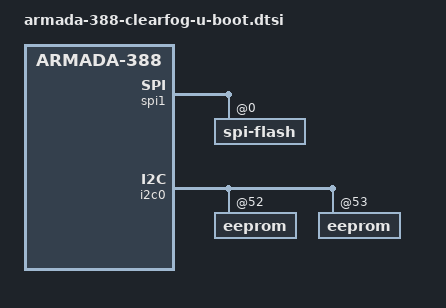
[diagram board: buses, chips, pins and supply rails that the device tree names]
// SPDX-License-Identifier: GPL-2.0+

&spi1 {
	bootph-pre-ram;

	spi-flash@0 {
		bootph-pre-ram;
	};
};

&sdhci {
	bootph-pre-ram;
};

&gpio0 {
	bootph-pre-ram;
};

&ahci0 {
	bootph-pre-ram;
};

&ahci1 {
	bootph-pre-ram;
};

&i2c0 {
	bootph-pre-ram;

	eeprom@52 {
		bootph-pre-ram;
	};

	eeprom@53 {
		bootph-pre-ram;
	};
};

#include "mvebu-u-boot.dtsi"
